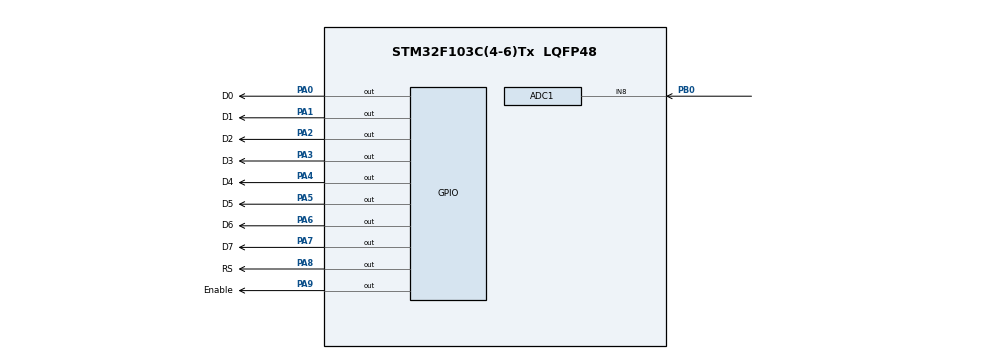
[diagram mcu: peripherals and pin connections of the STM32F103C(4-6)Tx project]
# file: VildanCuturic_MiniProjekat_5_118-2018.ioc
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ADC1.Channel-1\#ChannelRegularConversion=ADC_CHANNEL_8
ADC1.NbrOfConversionFlag=1
ADC1.Rank-1\#ChannelRegularConversion=1
ADC1.SamplingTime-1\#ChannelRegularConversion=ADC_SAMPLETIME_1CYCLE_5
ADC1.master=1
Mcu.Family=STM32F1
Mcu.Name=STM32F103C(4-6)Tx
Mcu.Package=LQFP48
NVIC.PriorityGroup=NVIC_PRIORITYGROUP_4
PA0-WKUP.GPIO_Label=D0
PA0-WKUP.Signal=GPIO_Output
PA1.GPIO_Label=D1
PA1.Signal=GPIO_Output
PA2.GPIO_Label=D2
PA2.Signal=GPIO_Output
PA3.GPIO_Label=D3
PA3.Signal=GPIO_Output
PA4.GPIO_Label=D4
PA4.Signal=GPIO_Output
PA5.GPIO_Label=D5
PA5.Signal=GPIO_Output
PA6.GPIO_Label=D6
PA6.Signal=GPIO_Output
PA7.GPIO_Label=D7
PA7.Signal=GPIO_Output
PA8.GPIO_Label=RS
PA8.Signal=GPIO_Output
PA9.GPIO_Label=Enable
PA9.Signal=GPIO_Output
PB0.Signal=ADCx_IN8
ProjectManager.HeapSize=0x200
ProjectManager.StackSize=0x400
ProjectManager.TargetToolchain=STM32CubeIDE
RCC.APB1Freq_Value=8000000
RCC.APB2Freq_Value=8000000
SH.ADCx_IN8.0=ADC1_IN8,IN8
board=custom

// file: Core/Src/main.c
/* USER CODE BEGIN Header */
/**
  ******************************************************************************
  * @file           : main.c
  * @brief          : Main program body
  ******************************************************************************
  * @attention
  *
  * Copyright (c) 2023 STMicroelectronics.
  * All rights reserved.
  *
  * This software is licensed under terms that can be found in the LICENSE file
  * in the root directory of this software component.
  * If no LICENSE file comes with this software, it is provided AS-IS.
  *
  ******************************************************************************
  */
/* USER CODE END Header */
#include "main.h"

/* USER CODE BEGIN Includes */
#include <stdio.h>
#include <string.h>
/* USER CODE END Includes */

/* USER CODE BEGIN PD */
#define SET_8_BIT_MODE 				0x38
#define DISPLAY_ON_CURSOR_OFF 		0x0C
#define AUTO_INCREMENT_CURSOR		0x06
#define CLEAR_DISPLAY				0x01
#define CURSOR_AT_HOME_POS			0x80
#define CURSOR_AT_SECOND_LINE		0xC0
#define COMMAND_MODE 	0
#define DATA_MODE		1
/* USER CODE END PD */

ADC_HandleTypeDef hadc1;

void SystemClock_Config(void);
static void MX_GPIO_Init(void);
static void MX_ADC1_Init(void);
/* USER CODE BEGIN PFP */
void LCD_init();
void LCD_EnablePulse();
void LCD(uint8_t data, uint8_t command);
void LCD_string(char *s);
void LCD_2(uint8_t val_1, uint8_t command);

/* USER CODE END PFP */

int main(void)
{
  /* USER CODE BEGIN 1 */
	uint16_t result;
	float adcConverted;
  /* USER CODE END 1 */

  /* MCU Configuration--------------------------------------------------------*/

  /* Reset of all peripherals, Initializes the Flash interface and the Systick. */
  HAL_Init();

  /* Configure the system clock */
  SystemClock_Config();

  /* Initialize all configured peripherals */
  MX_GPIO_Init();
  MX_ADC1_Init();
  /* USER CODE BEGIN 2 */
  LCD_init();

  /* USER CODE END 2 */

  /* Infinite loop */
  while (1)
  {

    /* USER CODE BEGIN 3 */
	  HAL_ADC_Start(&hadc1);
	  HAL_ADC_PollForConversion(&hadc1, HAL_MAX_DELAY);
	  result = HAL_ADC_GetValue(&hadc1);
	  adcConverted = (float)(result*10)/4095;

	  LCD_string("118");
	  if(adcConverted < 5) {
		  LCD(CURSOR_AT_SECOND_LINE, COMMAND_MODE);
		  LCD_string("                       ");
		  LCD(CURSOR_AT_HOME_POS, COMMAND_MODE);
	  }
	  else if(adcConverted >= 5) {
		  LCD(CURSOR_AT_SECOND_LINE, COMMAND_MODE);
		  LCD_string("2018");
		  LCD(CURSOR_AT_HOME_POS, COMMAND_MODE);
	  }
  }
  /* USER CODE END 3 */
}

void SystemClock_Config(void)
{
  RCC_OscInitTypeDef RCC_OscInitStruct = {0};
  RCC_ClkInitTypeDef RCC_ClkInitStruct = {0};
  RCC_PeriphCLKInitTypeDef PeriphClkInit = {0};

  /** Initializes the RCC Oscillators according to the specified parameters
  * in the RCC_OscInitTypeDef structure.
  */
  RCC_OscInitStruct.OscillatorType = RCC_OSCILLATORTYPE_HSI;
  RCC_OscInitStruct.HSIState = RCC_HSI_ON;
  RCC_OscInitStruct.HSICalibrationValue = RCC_HSICALIBRATION_DEFAULT;
  RCC_OscInitStruct.PLL.PLLState = RCC_PLL_NONE;
  if (HAL_RCC_OscConfig(&RCC_OscInitStruct) != HAL_OK)
  {
    Error_Handler();
  }

  /** Initializes the CPU, AHB and APB buses clocks
  */
  RCC_ClkInitStruct.ClockType = RCC_CLOCKTYPE_HCLK|RCC_CLOCKTYPE_SYSCLK
                              |RCC_CLOCKTYPE_PCLK1|RCC_CLOCKTYPE_PCLK2;
  RCC_ClkInitStruct.SYSCLKSource = RCC_SYSCLKSOURCE_HSI;
  RCC_ClkInitStruct.AHBCLKDivider = RCC_SYSCLK_DIV1;
  RCC_ClkInitStruct.APB1CLKDivider = RCC_HCLK_DIV1;
  RCC_ClkInitStruct.APB2CLKDivider = RCC_HCLK_DIV1;

  if (HAL_RCC_ClockConfig(&RCC_ClkInitStruct, FLASH_LATENCY_0) != HAL_OK)
  {
    Error_Handler();
  }
  PeriphClkInit.PeriphClockSelection = RCC_PERIPHCLK_ADC;
  PeriphClkInit.AdcClockSelection = RCC_ADCPCLK2_DIV2;
  if (HAL_RCCEx_PeriphCLKConfig(&PeriphClkInit) != HAL_OK)
  {
    Error_Handler();
  }
}

static void MX_ADC1_Init(void)
{

  ADC_ChannelConfTypeDef sConfig = {0};

  /** Common config
  */
  hadc1.Instance = ADC1;
  hadc1.Init.ScanConvMode = ADC_SCAN_DISABLE;
  hadc1.Init.ContinuousConvMode = DISABLE;
  hadc1.Init.DiscontinuousConvMode = DISABLE;
  hadc1.Init.ExternalTrigConv = ADC_SOFTWARE_START;
  hadc1.Init.DataAlign = ADC_DATAALIGN_RIGHT;
  hadc1.Init.NbrOfConversion = 1;
  if (HAL_ADC_Init(&hadc1) != HAL_OK)
  {
    Error_Handler();
  }

  /** Configure Regular Channel
  */
  sConfig.Channel = ADC_CHANNEL_8;
  sConfig.Rank = ADC_REGULAR_RANK_1;
  sConfig.SamplingTime = ADC_SAMPLETIME_1CYCLE_5;
  if (HAL_ADC_ConfigChannel(&hadc1, &sConfig) != HAL_OK)
  {
    Error_Handler();
  }

}

static void MX_GPIO_Init(void)
{
  GPIO_InitTypeDef GPIO_InitStruct = {0};

  /* GPIO Ports Clock Enable */
  __HAL_RCC_GPIOA_CLK_ENABLE();
  __HAL_RCC_GPIOB_CLK_ENABLE();

  /*Configure GPIO pin Output Level */
  HAL_GPIO_WritePin(GPIOA, D0_Pin|D1_Pin|D2_Pin|D3_Pin
                          |D4_Pin|D5_Pin|D6_Pin|D7_Pin
                          |RS_Pin|Enable_Pin, GPIO_PIN_RESET);

  /*Configure GPIO pins : D0_Pin D1_Pin D2_Pin D3_Pin
                           D4_Pin D5_Pin D6_Pin D7_Pin
                           RS_Pin Enable_Pin */
  GPIO_InitStruct.Pin = D0_Pin|D1_Pin|D2_Pin|D3_Pin
                          |D4_Pin|D5_Pin|D6_Pin|D7_Pin
                          |RS_Pin|Enable_Pin;
  GPIO_InitStruct.Mode = GPIO_MODE_OUTPUT_PP;
  GPIO_InitStruct.Pull = GPIO_NOPULL;
  GPIO_InitStruct.Speed = GPIO_SPEED_FREQ_LOW;
  HAL_GPIO_Init(GPIOA, &GPIO_InitStruct);

}

/* USER CODE BEGIN 4 */
void LCD_init(void) {
	LCD(SET_8_BIT_MODE, COMMAND_MODE);
	LCD_EnablePulse();
	LCD(DISPLAY_ON_CURSOR_OFF, COMMAND_MODE);
	LCD_EnablePulse();
	LCD(AUTO_INCREMENT_CURSOR, COMMAND_MODE);
	LCD_EnablePulse();
	LCD(CLEAR_DISPLAY, COMMAND_MODE);
	LCD_EnablePulse();
	LCD(CURSOR_AT_HOME_POS, COMMAND_MODE);
	LCD_EnablePulse();
}

void LCD(uint8_t data, uint8_t command) {
	// command refers to RS (RegisterSelect),
	// if RS == 0 then we send a LCD_command
	// if RS == 1 then we send a string

	GPIOA -> ODR = data;

	HAL_GPIO_WritePin(RS_GPIO_Port, RS_Pin, command);

	LCD_EnablePulse();
}

void LCD_string(char *s)
{
	for (int i = 0; i < strlen(s); i++) {
		LCD(s[i], DATA_MODE);
	}
}

void LCD_EnablePulse() {
	// Data is only written on LCD only when Enable goes from LOW to HIGH
	HAL_GPIO_WritePin(Enable_GPIO_Port, Enable_Pin, GPIO_PIN_SET);
	HAL_Delay(5);
	HAL_GPIO_WritePin(Enable_GPIO_Port, Enable_Pin, GPIO_PIN_RESET);
}
/* USER CODE END 4 */

void Error_Handler(void)
{
  __disable_irq();
  while (1)
  {
  }
}
